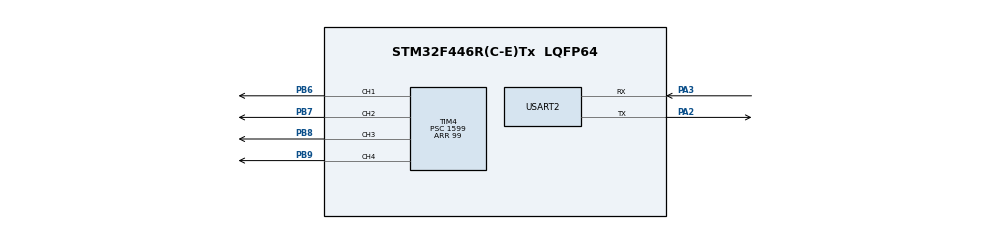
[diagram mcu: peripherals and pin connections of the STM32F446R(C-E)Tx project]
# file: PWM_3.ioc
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Mcu.Family=STM32F4
Mcu.Name=STM32F446R(C-E)Tx
Mcu.Package=LQFP64
Mcu.UserConstants=SAMPLE_RANGE,100
NVIC.PriorityGroup=NVIC_PRIORITYGROUP_4
NVIC.TIM4_IRQn=true\:0\:0\:false\:false\:true\:true\:true\:true
PA13.Mode=Serial_Wire
PA13.Signal=SYS_JTMS-SWDIO
PA14.Mode=Serial_Wire
PA14.Signal=SYS_JTCK-SWCLK
PA2.Mode=Asynchronous
PA2.Signal=USART2_TX
PA3.Mode=Asynchronous
PA3.Signal=USART2_RX
PB6.Signal=S_TIM4_CH1
PB7.Signal=S_TIM4_CH2
PB8.Signal=S_TIM4_CH3
PB9.Signal=S_TIM4_CH4
ProjectManager.HeapSize=0x200
ProjectManager.StackSize=0x400
ProjectManager.TargetToolchain=CMake
RCC.CortexFreq_Value=16000000
RCC.USBFreq_Value=96000000
RCC.VCOOutputFreq_Value=192000000
SH.S_TIM4_CH1.0=TIM4_CH1,PWM Generation1 CH1
SH.S_TIM4_CH2.0=TIM4_CH2,PWM Generation2 CH2
SH.S_TIM4_CH3.0=TIM4_CH3,PWM Generation3 CH3
SH.S_TIM4_CH4.0=TIM4_CH4,PWM Generation4 CH4
TIM4.Channel-PWM\ Generation1\ CH1=TIM_CHANNEL_1
TIM4.Channel-PWM\ Generation2\ CH2=TIM_CHANNEL_2
TIM4.Channel-PWM\ Generation3\ CH3=TIM_CHANNEL_3
TIM4.Channel-PWM\ Generation4\ CH4=TIM_CHANNEL_4
TIM4.OCPolarity_1=TIM_OCPOLARITY_HIGH
TIM4.OCPolarity_2=TIM_OCPOLARITY_HIGH
TIM4.OCPolarity_3=TIM_OCPOLARITY_HIGH
TIM4.OCPolarity_4=TIM_OCPOLARITY_HIGH
TIM4.Period=99
TIM4.Prescaler=1599
USART2.VirtualMode=VM_ASYNC
VP_TIM4_VS_ClockSourceINT.Mode=Internal
board=custom

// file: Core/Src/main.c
/* USER CODE BEGIN Header */
/**
  ******************************************************************************
  * @file           : main.c
  * @brief          : Main program body
  ******************************************************************************
  * @attention
  *
  * Copyright (c) 2025 STMicroelectronics.
  * All rights reserved.
  *
  * This software is licensed under terms that can be found in the LICENSE file
  * in the root directory of this software component.
  * If no LICENSE file comes with this software, it is provided AS-IS.
  *
  ******************************************************************************
  */
/* USER CODE END Header */
#include "main.h"

/* USER CODE BEGIN Includes */
#include <stdio.h>
#include <math.h>
/* USER CODE END Includes */

/* USER CODE BEGIN PD */
#define SAMPLE_DELAY 10
#define SAMPLE_FREQUENCY (1000 / SAMPLE_DELAY)
#define SAMPLE_MID_POINT (SAMPLE_RANGE / 2)
/* USER CODE END PD */

TIM_HandleTypeDef htim4;

UART_HandleTypeDef huart2;

/* USER CODE BEGIN PV */
uint32_t led_channel[] = { TIM_CHANNEL_1, TIM_CHANNEL_2, TIM_CHANNEL_3, TIM_CHANNEL_4 };
float angles[] = { 0, 0, 0, 0 };
float angles_changes[] = {
  1 * (2 * M_PI / SAMPLE_FREQUENCY),
  2 * (2 * M_PI / SAMPLE_FREQUENCY),
  0.5 * (2 * M_PI / SAMPLE_FREQUENCY),
  0.25 * (2 * M_PI / SAMPLE_FREQUENCY)
};

uint32_t cb_f = 0;
/* USER CODE END PV */

void SystemClock_Config(void);
static void MX_GPIO_Init(void);
static void MX_TIM4_Init(void);
static void MX_USART2_UART_Init(void);

/* USER CODE BEGIN 0 */

/**
 * @brief  Retargets the C library printf output to the UART.
 *
 * This function overrides the low-level _write syscall used by printf and similar functions,
 * redirecting their output to the specified UART peripheral (here, huart2).
 *
 * @param  fd   File descriptor. 1 for stdout, 2 for stderr.
 * @param  ptr  Pointer to the data buffer to transmit.
 * @param  len  Length of the data to transmit.
 * @retval Number of bytes transmitted on success, -1 on failure.
 */
int _write(int fd, char* ptr, int len) {
  HAL_StatusTypeDef hstatus;

  if (fd == 1 || fd == 2) {
    hstatus = HAL_UART_Transmit(&huart2, (uint8_t *) ptr, len, HAL_MAX_DELAY);
    if (hstatus == HAL_OK)
      return len;
    else
      return -1;
  }
  return -1;
}

/**
 * @brief Callback function called when a PWM pulse is finished on TIM4.
 *
 * This function is triggered by the HAL library when a PWM pulse completes on TIM4.
 * It iterates through the `angles` array, updating each angle by its corresponding
 * value in `angles_changes`. If an angle exceeds 2*PI, it wraps around.
 * The function then updates the PWM compare value for each channel using a sine
 * function to generate a waveform. The compare value is calculated as:
 *   SAMPLE_MID_POINT - (SAMPLE_MID_POINT * sin(angle))
 * This effectively modulates the PWM duty cycle to create a sinusoidal output.
 * The callback counter `cb_f` is incremented at the end of the function.
 *
 * @param htim Pointer to the TIM handle structure.
 */
inline void HAL_TIM_PWM_PulseFinishedCallback(TIM_HandleTypeDef *htim)
{
  if(htim->Instance == TIM4)
  {
    for(uint32_t idx = 0; idx < sizeof(angles) / sizeof(angles[0]); idx++)
      {
        angles[idx] = angles[idx] + angles_changes[idx];
        if(angles[idx] >= 2 * M_PI) angles[idx] -= 2 * M_PI;

        // Update the timer
        __HAL_TIM_SET_COMPARE(&htim4, led_channel[idx], SAMPLE_MID_POINT - (SAMPLE_MID_POINT * sin(angles[idx])));
      }
  }
  cb_f++;
}

/* USER CODE END 0 */

int main(void)
{

  /* MCU Configuration--------------------------------------------------------*/

  /* Reset of all peripherals, Initializes the Flash interface and the Systick. */
  HAL_Init();

  /* Configure the system clock */
  SystemClock_Config();

  /* Initialize all configured peripherals */
  MX_GPIO_Init();
  MX_TIM4_Init();
  MX_USART2_UART_Init();
  /* USER CODE BEGIN 2 */
  printf("Board Starting\n");
  // Init all timers
  HAL_TIM_PWM_Start_IT(&htim4, TIM_CHANNEL_1);
  HAL_TIM_PWM_Start_IT(&htim4, TIM_CHANNEL_2);
  HAL_TIM_PWM_Start_IT(&htim4, TIM_CHANNEL_3);
  HAL_TIM_PWM_Start_IT(&htim4, TIM_CHANNEL_4);

  /* USER CODE END 2 */

  /* Infinite loop */
  /* USER CODE BEGIN WHILE */
  uint16_t pwm_value = 0;
  int8_t pwm_change = 1;
  uint32_t now = 0, next_tick = 1000, loop_count = 0, next_change = 0, next_sample = SAMPLE_DELAY;
  while (1)
  {
    // Get Tick directly
    now = uwTick;
    if(now >= next_tick)
    {
      printf("Tick %lu (loop = %lu, callback = %lu)\n", now/1000, loop_count, cb_f);
      loop_count = 0;
      next_tick = now + 1000;
    }

    if(now >= next_sample)
    {
      // Itirate the led_channels
      // On callback function
      next_sample = now + SAMPLE_DELAY;
    }

    /*
    if(now >= next_change)
    {
      //printf("PWM Value = %lu\n", pwm_value);
      // Change the PWM Pulse value
      __HAL_TIM_SET_COMPARE(&htim4, TIM_CHANNEL_1, pwm_value);
      __HAL_TIM_SET_COMPARE(&htim4, TIM_CHANNEL_2, 100-pwm_value);
      __HAL_TIM_SET_COMPARE(&htim4, TIM_CHANNEL_3, pwm_value);
      __HAL_TIM_SET_COMPARE(&htim4, TIM_CHANNEL_4, 100-pwm_value);
      // Update pwm_value to current value + pwm_change
      pwm_value += pwm_change;

      // If the pwm is zero, then update the rate to positive 1
      if(pwm_value == 0) pwm_change = 1;
      // If the pwm is 100, then update the rate to negative 1
      if(pwm_value == 100) pwm_change = -1;

      next_change = now + 25;
    }
    */
    loop_count++;
    /* USER CODE END WHILE */

  }
}

void SystemClock_Config(void)
{
  RCC_OscInitTypeDef RCC_OscInitStruct = {0};
  RCC_ClkInitTypeDef RCC_ClkInitStruct = {0};

  /** Configure the main internal regulator output voltage
  */
  __HAL_RCC_PWR_CLK_ENABLE();
  __HAL_PWR_VOLTAGESCALING_CONFIG(PWR_REGULATOR_VOLTAGE_SCALE3);

  /** Initializes the RCC Oscillators according to the specified parameters
  * in the RCC_OscInitTypeDef structure.
  */
  RCC_OscInitStruct.OscillatorType = RCC_OSCILLATORTYPE_HSI;
  RCC_OscInitStruct.HSIState = RCC_HSI_ON;
  RCC_OscInitStruct.HSICalibrationValue = RCC_HSICALIBRATION_DEFAULT;
  RCC_OscInitStruct.PLL.PLLState = RCC_PLL_NONE;
  if (HAL_RCC_OscConfig(&RCC_OscInitStruct) != HAL_OK)
  {
    Error_Handler();
  }

  /** Initializes the CPU, AHB and APB buses clocks
  */
  RCC_ClkInitStruct.ClockType = RCC_CLOCKTYPE_HCLK|RCC_CLOCKTYPE_SYSCLK
                              |RCC_CLOCKTYPE_PCLK1|RCC_CLOCKTYPE_PCLK2;
  RCC_ClkInitStruct.SYSCLKSource = RCC_SYSCLKSOURCE_HSI;
  RCC_ClkInitStruct.AHBCLKDivider = RCC_SYSCLK_DIV1;
  RCC_ClkInitStruct.APB1CLKDivider = RCC_HCLK_DIV1;
  RCC_ClkInitStruct.APB2CLKDivider = RCC_HCLK_DIV1;

  if (HAL_RCC_ClockConfig(&RCC_ClkInitStruct, FLASH_LATENCY_0) != HAL_OK)
  {
    Error_Handler();
  }
}

static void MX_TIM4_Init(void)
{

  TIM_ClockConfigTypeDef sClockSourceConfig = {0};
  TIM_MasterConfigTypeDef sMasterConfig = {0};
  TIM_OC_InitTypeDef sConfigOC = {0};

  htim4.Instance = TIM4;
  htim4.Init.Prescaler = 1599;
  htim4.Init.CounterMode = TIM_COUNTERMODE_UP;
  htim4.Init.Period = 99;
  htim4.Init.ClockDivision = TIM_CLOCKDIVISION_DIV1;
  htim4.Init.AutoReloadPreload = TIM_AUTORELOAD_PRELOAD_DISABLE;
  if (HAL_TIM_Base_Init(&htim4) != HAL_OK)
  {
    Error_Handler();
  }
  sClockSourceConfig.ClockSource = TIM_CLOCKSOURCE_INTERNAL;
  if (HAL_TIM_ConfigClockSource(&htim4, &sClockSourceConfig) != HAL_OK)
  {
    Error_Handler();
  }
  if (HAL_TIM_PWM_Init(&htim4) != HAL_OK)
  {
    Error_Handler();
  }
  sMasterConfig.MasterOutputTrigger = TIM_TRGO_RESET;
  sMasterConfig.MasterSlaveMode = TIM_MASTERSLAVEMODE_DISABLE;
  if (HAL_TIMEx_MasterConfigSynchronization(&htim4, &sMasterConfig) != HAL_OK)
  {
    Error_Handler();
  }
  sConfigOC.OCMode = TIM_OCMODE_PWM1;
  sConfigOC.Pulse = 0;
  sConfigOC.OCPolarity = TIM_OCPOLARITY_HIGH;
  sConfigOC.OCFastMode = TIM_OCFAST_DISABLE;
  if (HAL_TIM_PWM_ConfigChannel(&htim4, &sConfigOC, TIM_CHANNEL_1) != HAL_OK)
  {
    Error_Handler();
  }
  if (HAL_TIM_PWM_ConfigChannel(&htim4, &sConfigOC, TIM_CHANNEL_2) != HAL_OK)
  {
    Error_Handler();
  }
  if (HAL_TIM_PWM_ConfigChannel(&htim4, &sConfigOC, TIM_CHANNEL_3) != HAL_OK)
  {
    Error_Handler();
  }
  if (HAL_TIM_PWM_ConfigChannel(&htim4, &sConfigOC, TIM_CHANNEL_4) != HAL_OK)
  {
    Error_Handler();
  }
  HAL_TIM_MspPostInit(&htim4);

}

static void MX_USART2_UART_Init(void)
{

  huart2.Instance = USART2;
  huart2.Init.BaudRate = 115200;
  huart2.Init.WordLength = UART_WORDLENGTH_8B;
  huart2.Init.StopBits = UART_STOPBITS_1;
  huart2.Init.Parity = UART_PARITY_NONE;
  huart2.Init.Mode = UART_MODE_TX_RX;
  huart2.Init.HwFlowCtl = UART_HWCONTROL_NONE;
  huart2.Init.OverSampling = UART_OVERSAMPLING_16;
  if (HAL_UART_Init(&huart2) != HAL_OK)
  {
    Error_Handler();
  }

}

static void MX_GPIO_Init(void)
{

  /* GPIO Ports Clock Enable */
  __HAL_RCC_GPIOA_CLK_ENABLE();
  __HAL_RCC_GPIOB_CLK_ENABLE();

}

void Error_Handler(void)
{
  __disable_irq();
  while (1)
  {
  }
}
